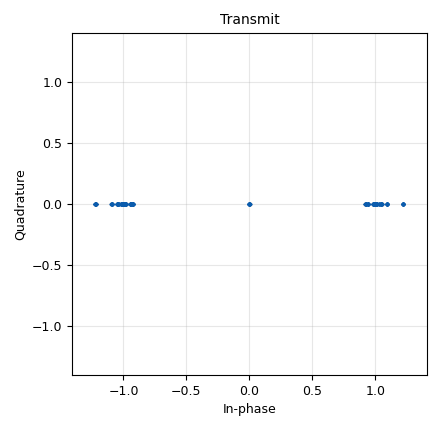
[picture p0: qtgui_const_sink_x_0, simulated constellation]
options:
  parameters:
    generate_options: qt_gui
    id: test
    output_language: python
    title: Not titled yet
  states: {}

blocks:
- name: samp_rate
  id: variable
  parameters:
    value: '320000'
  states: {}
- name: variable_constellation
  id: variable_constellation
  parameters:
    precision: '8'
    type: bpsk
  states: {}
- name: analog_random_source_x_0
  id: analog_random_source_x
  parameters:
    max: '2'
    min: '0'
    num_samps: '1000'
    repeat: 'True'
    type: byte
  states: {}
- name: analog_sig_source_x_0
  id: analog_sig_source_x
  parameters:
    amp: '0.4'
    freq: '10000'
    offset: '0'
    phase: '0'
    samp_rate: samp_rate
    type: complex
    waveform: analog.GR_COS_WAVE
  states: {state: disabled}
- name: digital_constellation_modulator_0
  id: digital_constellation_modulator
  parameters:
    constellation: variable_constellation
    differential: 'True'
    excess_bw: '0.35'
    samples_per_symbol: '2'
  states: {}
- name: qtgui_const_sink_x_0
  id: qtgui_const_sink_x
  parameters:
    autoscale: 'True'
    name: '"Transmit"'
    size: '1024'
    type: complex
  states: {}
- name: qtgui_const_sink_x_1
  id: qtgui_const_sink_x
  parameters:
    autoscale: 'True'
    name: '"Receive"'
    size: '1024'
    type: complex
  states: {}
- name: qtgui_sink_x_0
  id: qtgui_sink_x
  parameters:
    bw: samp_rate
    fc: '0'
    fftsize: '1024'
    type: complex
  states: {state: disabled}
- name: uhd_usrp_sink_0
  id: uhd_usrp_sink
  parameters:
    ant0: '"TX/RX"'
    center_freq0: 920E6
    gain0: '50'
    samp_rate: samp_rate
    sync: sync
    type: fc32
  states: {}
- name: uhd_usrp_source_0
  id: uhd_usrp_source
  parameters:
    ant0: '"RX2"'
    center_freq0: 920E6
    gain0: '50'
    samp_rate: samp_rate
    sync: sync
    type: fc32
  states: {}

connections:
- [analog_random_source_x_0, '0', digital_constellation_modulator_0, '0']
- [analog_sig_source_x_0, '0', uhd_usrp_sink_0, '0']
- [digital_constellation_modulator_0, '0', qtgui_const_sink_x_0, '0']
- [digital_constellation_modulator_0, '0', uhd_usrp_sink_0, '0']
- [uhd_usrp_source_0, '0', qtgui_const_sink_x_1, '0']
- [uhd_usrp_source_0, '0', qtgui_sink_x_0, '0']

metadata:
  file_format: 1
  grc_version: 3.10.10.0
